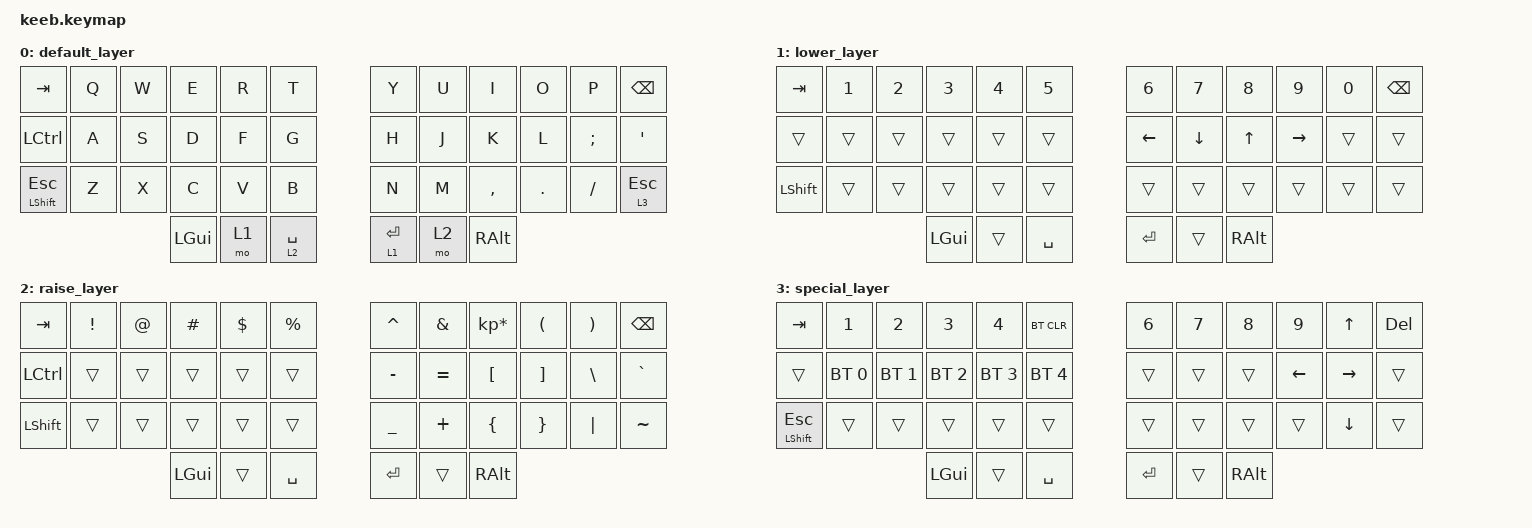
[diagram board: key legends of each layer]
/*
 * Copyright (c) 2020 The ZMK Contributors
 *
 * SPDX-License-Identifier: MIT
 */

#include <behaviors.dtsi>
#include <dt-bindings/zmk/keys.h>
#include <dt-bindings/zmk/bt.h>

/ {
        keymap {
                compatible = "zmk,keymap";

                default_layer {
// -----------------------------------------------------------------------------------------
// |  TAB |  Q  |  W  |  E  |  R  |  T  |   |  Y  |  U   |  I  |  O  |  P  | BKSP |
// | CTRL |  A  |  S  |  D  |  F  |  G  |   |  H  |  J   |  K  |  L  |  ;  |  '   |
// | SHFT |  Z  |  X  |  C  |  V  |  B  |   |  N  |  M   |  ,  |  .  |  /  | LWR/ESC  |
//                    | GUI | LWR | SPC |   | ENT | RSE  | ALT |
                        bindings = <
   &kp TAB       &kp Q &kp W &kp E &kp R &kp T   &kp Y &kp U  &kp I     &kp O   &kp P    &kp BSPC
   &kp LCTRL     &kp A &kp S &kp D &kp F &kp G   &kp H &kp J  &kp K     &kp L   &kp SEMI &kp SQT
   &mt LSHFT ESC &kp Z &kp X &kp C &kp V &kp B   &kp N &kp M  &kp COMMA &kp DOT &kp FSLH &lt 3 ESC
                    &kp LGUI &mo 1 &lt 2 SPACE   &lt 1 RET &mo 2 &kp RALT 
                        >;
                };
                lower_layer {
// -----------------------------------------------------------------------------------------
// |  TAB |  1  |  2  |  3  |  4  |  5  |   |  6  |  7  |  8  |  9  |  0  | BKSP |
// | BTCLR| BT1 | BT2 | BT3 | BT4 | BT5 |   | LFT | DWN |  UP | RGT |     |      |
// | SHFT |     |     |     |     |     |   |     |     |     |     |     |      |
//                    | GUI |     | SPC |   | ENT |     | ALT |
                        bindings = <
   &kp TAB    &kp N1       &kp N2       &kp N3       &kp N4       &kp N5         &kp N6   &kp N7   &kp N8 &kp N9    &kp N0 &kp BSPC
   &trans     &trans       &trans       &trans       &trans       &trans         &kp LEFT &kp DOWN &kp UP &kp RIGHT &trans &trans
   &kp LSHFT  &trans       &trans       &trans       &trans       &trans         &trans   &trans   &trans &trans    &trans &trans
                          	        &kp LGUI     &trans       &kp SPACE      &kp RET  &trans   &kp RALT
                        >;
                };

                raise_layer {
// -----------------------------------------------------------------------------------------
// |  TAB |  !  |  @  |  #  |  $  |  %  |   |  ^  |  &  |  *  |  (  |  )  | BKSP |
// | CTRL |     |     |     |     |     |   |  -  |  =  |  [  |  ]  |  \  |  `   |
// | SHFT |     |     |     |     |     |   |  _  |  +  |  {  |  }  | "|" |  ~   |
//                    | GUI |     | SPC |   | ENT |     | ALT |
                        bindings = <
   &kp  TAB  &kp EXCL &kp AT &kp HASH &kp DLLR &kp PRCNT   &kp CARET &kp AMPS  &kp KP_MULTIPLY &kp LPAR &kp RPAR &kp BSPC
   &kp LCTRL &trans   &trans &trans   &trans   &trans      &kp MINUS &kp EQUAL &kp LBKT        &kp RBKT &kp BSLH &kp GRAVE
   &kp LSHFT &trans   &trans &trans   &trans   &trans      &kp UNDER &kp PLUS  &kp LBRC        &kp RBRC &kp PIPE &kp TILDE
                    	     &kp LGUI &trans   &kp SPACE   &kp RET   &trans    &kp RALT
                        >;
                };
                special_layer {
// -----------------------------------------------------------------------------------------
// |  TAB |  1  |  2  |  3  |  4  |  5  |   |  6  |  7  |  8  |  9  |  0  | BKSP |
// | BTCLR| BT1 | BT2 | BT3 | BT4 | BT5 |   | LFT | DWN |  UP | RGT |     |      |
// | SHFT |     |     |     |     |     |   |     |     |     |     |     |      |
//                    | GUI |     | SPC |   | ENT |     | ALT |
                        bindings = <
   &kp TAB        &kp N1       &kp N2       &kp N3       &kp N4       &bt BT_CLR     &kp N6   &kp N7   &kp N8 &kp N9    &kp UP     &kp DEL
   &trans         &bt BT_SEL 0 &bt BT_SEL 1 &bt BT_SEL 2 &bt BT_SEL 3 &bt BT_SEL 4   &trans   &trans   &trans &kp LEFT  &kp RIGHT  &trans
   &mt LSHFT ESC  &trans       &trans       &trans       &trans       &trans         &trans   &trans   &trans &trans    &kp DOWN   &trans
                          	            &kp LGUI     &trans       &kp SPACE      &kp RET  &trans   &kp RALT
                        >;
                };
        };
};
